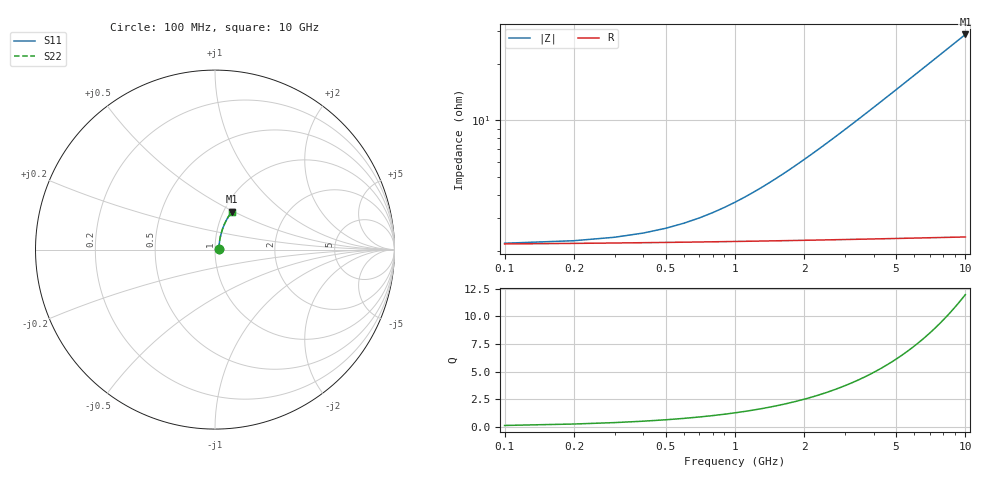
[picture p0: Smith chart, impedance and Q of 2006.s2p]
# Hz S RI R 50.00
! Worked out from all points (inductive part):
!   100 points, 100 MHz to 10 GHz, reference 50 ohm
!   read as one part in series: L = 457 pH near 2.5 GHz
!   highest Q = 12 at 10 GHz (marker M1), where L = 455 pH
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1e8  0.0215 0.00232  0.9785 -0.00319  0.9785 -0.00319  0.0215 0.00232
2e8  0.0216 0.00463  0.9784 -0.00638  0.9784 -0.00638  0.0216 0.00463
3e8  0.0218 0.00695  0.9782 -0.00956  0.9782 -0.00956  0.0218 0.00695
5e8  0.022 0.0116  0.978 -0.0159  0.978 -0.0159  0.022 0.0116
7e8  0.0223 0.0162  0.9777 -0.0223  0.9777 -0.0223  0.0223 0.0162
1.3e9  0.0235 0.03  0.9764 -0.0414  0.9764 -0.0414  0.0235 0.03
1.6e9  0.0242 0.0369  0.9757 -0.0509  0.9757 -0.0509  0.0242 0.0369
1.8e9  0.0248 0.0415  0.9751 -0.0572  0.9751 -0.0572  0.0248 0.0415
2.1e9  0.0257 0.0483  0.9741 -0.0667  0.9741 -0.0667  0.0257 0.0483
2.5e9  0.0272 0.0574  0.9725 -0.0793  0.9725 -0.0793  0.0272 0.0574
2.9e9  0.0289 0.0665  0.9707 -0.0918  0.9707 -0.0918  0.0289 0.0665
3.4e9  0.0314 0.0777  0.9682 -0.1074  0.9682 -0.1074  0.0314 0.0777
3.8e9  0.0336 0.0866  0.9659 -0.1198  0.9659 -0.1198  0.0336 0.0866
4.2e9  0.036 0.0955  0.9633 -0.1321  0.9633 -0.1321  0.036 0.0955
4.6e9  0.0386 0.1042  0.9605 -0.1444  0.9605 -0.1444  0.0386 0.1042
5.1e9  0.0422 0.1151  0.9567 -0.1596  0.9567 -0.1596  0.0422 0.1151
5.9e9  0.0487 0.1321  0.9499 -0.1836  0.9499 -0.1836  0.0487 0.1321
6.7e9  0.056 0.1486  0.9422 -0.2072  0.9422 -0.2072  0.056 0.1486
7.5e9  0.0641 0.1647  0.9337 -0.2303  0.9337 -0.2303  0.0641 0.1647
8.4e9  0.0741 0.1822  0.9231 -0.2557  0.9231 -0.2557  0.0741 0.1822
9.2e9  0.0837 0.1971  0.913 -0.2777  0.913 -0.2777  0.0837 0.1971
1e10  0.094 0.2114  0.9021 -0.299  0.9021 -0.299  0.094 0.2114
